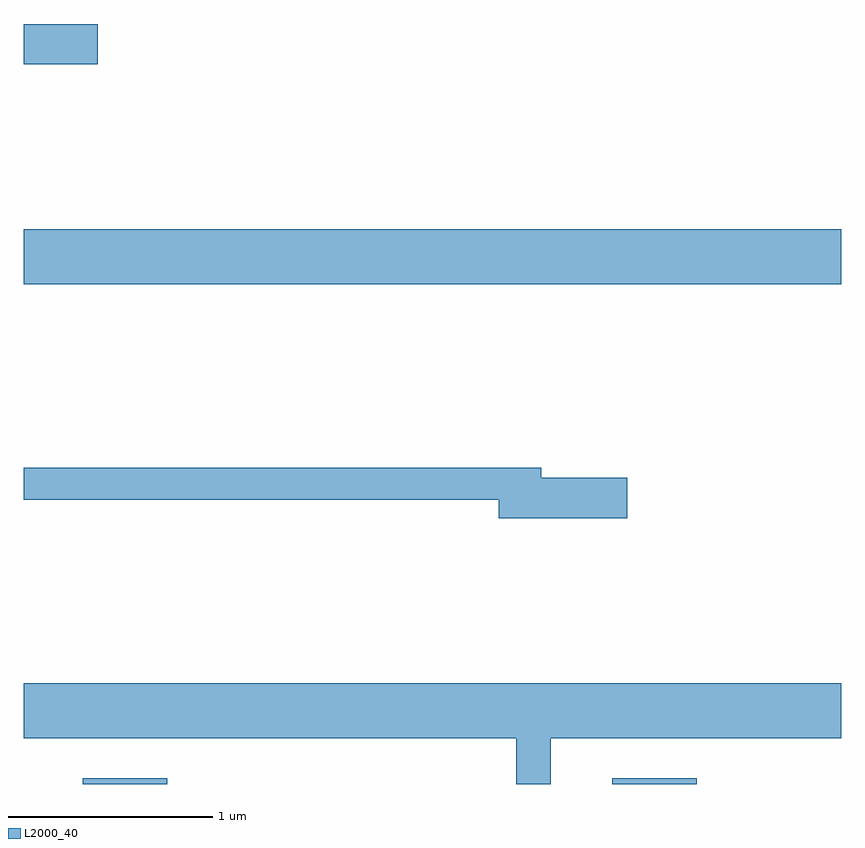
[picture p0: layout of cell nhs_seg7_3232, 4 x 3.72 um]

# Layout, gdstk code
import gdstk
lib = gdstk.Library(unit=1e-6, precision=1e-09)
def R(c, l, rs):  # rectangles x0, y0, x1, y1
    for r in rs: c.add(gdstk.rectangle(r[:2], r[2:], *l))
def P(c, l, *ps):  # polygons
    for p in ps: c.add(gdstk.Polygon(p, *l))
L2000_40 = (2000, 40)

nhs_seg7_3232 = lib.new_cell('nhs_seg7_3232')
R(nhs_seg7_3232, L2000_40, [(283.901,1776.252,284.314,1776.279), (286.491,1776.252,286.904,1776.279), (283.611,1778.696,287.611,1778.964), (283.611,1779.771,283.974,1779.969)])
P(nhs_seg7_3232, L2000_40, [(286.564,1777.749),(286.144,1777.749),(286.144,1777.799),(283.611,1777.799),(283.611,1777.641),(285.936,1777.641),(285.936,1777.551),(286.564,1777.551)],
  [(286.189,1776.476),(287.611,1776.476),(287.611,1776.744),(283.611,1776.744),(283.611,1776.476),(286.021,1776.476),(286.021,1776.252),(286.189,1776.252)])

lib.write_gds('nhs_seg7_3232.gds')
